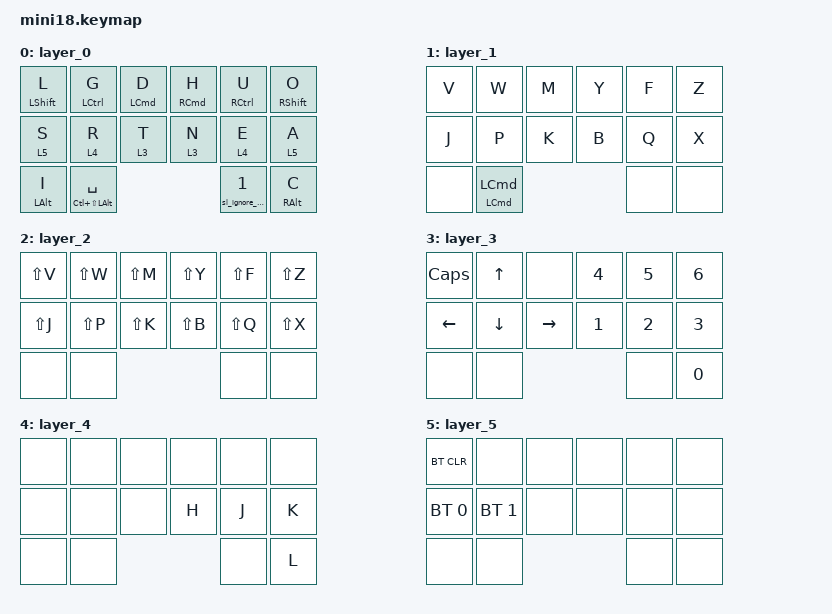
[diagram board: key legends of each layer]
// ------------------------------------------------------------------------------------------------------ //
//  ####################################################################################################  //
//  ############################################# BRIEF ################################################  //
//  ####################################################################################################  //
// ------------------------------------------------------------------------------------------------------ //
// NOCC Mini 16 Prototype 2.0 (Pronounced "knock")
//  _   _   ____    _____   _____
// | \ | | / __ \  / ____| / ____|
// |  \| || |  | || |     | |
// | . ` || |  | || |     | |
// | |\  || |__| || |____ | |____
// |_| \_| \____/  \_____| \_____|
//
// The NOCC Mini 16 is focused on being portable (small & lightweight), ergonomic,
// yet, still fast to type and program with (symbols, VIM Motions, TMUX etc.) by
// making use of combos and behaviors. The Keymap is Mac focused but can be
// modified for Windows.
// ------------------------------------------------------------------------------------------------------ //
//  ####################################################################################################  //
//  ###################################### KEYMAP PIN ASSIGNMENT #######################################  //
//  ####################################################################################################  //
// ------------------------------------------------------------------------------------------------------ //
// Each Key is assigned a pin on the MCU. Use this map to create new combos, or edit existing ones.
// ** Example: 10 is the right hand thumb key and 16 is the right hand pinky key **
//
// 16 Key Keymap Pin Layout
// 0   1   2     3   4   5
// 6   7   8     9  10  11
// 12     13     14     15
// ------------------------------------------------------------------------------------------------------ //
//  ####################################################################################################  //
//  ############################################# INCLUDES #############################################  //
//  ####################################################################################################  //
// ------------------------------------------------------------------------------------------------------ //
#include <behaviors.dtsi>
#include <dt-bindings/zmk/keys.h>
#include <dt-bindings/zmk/bt.h>
/ {
// ------------------------------------------------------------------------------------------------------ //
//  ####################################################################################################  //
//  ############################################ BEHAVIORS #############################################  //
//  ####################################################################################################  //
// ------------------------------------------------------------------------------------------------------ //
    behaviors {
        //Activates Layer 1
        //One shot sticky layer
        //Any key pressed (except mod keys (cmd, shift etc.)) will trigger home layer switch
        sl_ignore_mods: sticky_layer_ignore_mods {
            compatible = "zmk,behavior-sticky-key";
            #binding-cells = <1>;
            bindings = <&mo>;
            release-after-ms = <300>;
            ignore-modifiers;
        };
        //Activates Layer 2
        //One shot sticky layer
        //Any key pressed (except mod keys (cmd, shift etc.)) will trigger home layer switch
        sl_caps: sl_caps {
            compatible = "zmk,behavior-sticky-key";
            #binding-cells = <1>;
            bindings = <&mo>;
            release-after-ms = <200>;
            ignore-modifiers;
        };
        //Does not deactivate layer
        //When tapped, next key is Left Command + Key
        //If held Left Command Key
         lcmd_sticky_hold: lcmd_sticky_hold {
            compatible = "zmk,behavior-hold-tap";
            #binding-cells = <2>;
            tapping-term-ms = <200>;
            quick-tap-ms = <0>;
            flavor = "tap-preferred";
            bindings = <&kp>, <&sk>;
        };
    };
// ------------------------------------------------------------------------------------------------------ //
//  ####################################################################################################  //
//  ############################################## COMBOS ##############################################  //
//  ####################################################################################################  //
// ------------------------------------------------------------------------------------------------------ //
    combos {
        compatible = "zmk,combos";
// ------------------------------------------------------------------------------------------------------ //
//  ######################################### FUNCTION COMBOS ##########################################  //
// ------------------------------------------------------------------------------------------------------ //
    //Switches to Alpha Caps Layer 2
    //Initiated on Layer 0
    combo_caps_layer {
        timeout-ms = <100>;
        key-positions = <14 4>;
        bindings = <&sl_caps 2>;
        };
    //Next  Key on Layer 0 is Shifted
    //Initiated on Layer 0
    combo_layer_0_shift_next {
        timeout-ms = <100>;
        key-positions = <13 1>;
        bindings = <&sk LSHFT>;
        layers = <0>;
        };
   //Initiated on Layer 0
   //Output: Repeat Last Key
    combo_repeat_last_key {
        timeout-ms = <100>;
        key-positions = <14 15>;
        bindings = <&key_repeat>;
        layers = <0>;
        };
    //Initiated on Layer 0
   //Output: Enter
    combo_enter {
        timeout-ms = <50>;
        key-positions = <13 14>;
        bindings = <&kp ENTER>;
        layers = <0>;
        };
    //Initiated on Layer 0
    //Output: Backspace
    combo_backspace {
        timeout-ms = <50>;
        key-positions = <9 10>;
        bindings = <&kp BACKSPACE>;
        layers = <0>;
        };
    //Initiated on Layer 0
   //Output: Escape
    combo_esc {
        timeout-ms = <50>;
        key-positions = <4 5>;
        bindings = <&kp ESCAPE>;
        layers = <0>;
        };
    //Initiated on Layer 0
    //Output: Tab
    combo_tab {
        timeout-ms = <50>;
        key-positions = <12 13>;
        bindings = <&kp TAB>;
        layers = <0>;
        };
// ------------------------------------------------------------------------------------------------------ //
//  ########################################### NUMBER COMBOS ##########################################  //
// ------------------------------------------------------------------------------------------------------ //
   //Output: "7"
    combo_num_seven {
        timeout-ms = <50>;
        key-positions = <3 4>;
        bindings = <&kp N7>;
        layers = <2>;
        };
   //Output: "8"
    combo_num_eight {
        timeout-ms = <50>;
        key-positions = <4 5>;
        bindings = <&kp N8>;
        layers = <2>;
        };
   //Output: "9"
    combo_num_nine {
        timeout-ms = <50>;
        key-positions = <9 10>;
        bindings = <&kp N9>;
        layers = <2>;
        };
// ------------------------------------------------------------------------------------------------------ //
//  ########################################## SYMBOL COMBOS ###########################################  //
// ------------------------------------------------------------------------------------------------------ //
   //Output: ":"
    combo_colon {
        timeout-ms = <50>;
        key-positions = <3 4>;
        bindings = <&kp COLON>;
        layers = <0>;
    };
   //Output: "$"
    combo_dollar {
        timeout-ms = <50>;
        key-positions = <4 11>;
        bindings = <&kp DLLR>;
        layers = <0>;
    };
   //Output: "%"
    combo_percent {
        timeout-ms = <50>;
        key-positions = <9 4>;
        bindings = <&kp PERCENT>;
        layers = <0>;
    };
   //Output: "("
    combo_left_parenthesis {
        timeout-ms = <50>;
        key-positions = <8 9>;
        bindings = <&kp LPAR>;
        layers = <0>;
    };
   //Output: ")"
    combo_right_parenthesis {
        timeout-ms = <50>;
        key-positions = <2 3>;
        bindings = <&kp RPAR>;
        layers = <0>;
    };
   //Output: "{"
    combo_left_brace {
        timeout-ms = <50>;
        key-positions = <7 10>;
        bindings = <&kp LBRC>;
        layers = <0>;
    };
   //Output: "}"
    combo_right_brace {
        timeout-ms = <50>;
        key-positions = <1 4>;
        bindings = <&kp RBRC>;
        layers = <0>;
    };
   //Output: "["
    combo_left_bracket {
        timeout-ms = <50>;
        key-positions = <6 11>;
        bindings = <&kp LBKT>;
        layers = <0>;
    };
   //Output: "]"
    combo_right_bracket {
        timeout-ms = <50>;
        key-positions = <0 5>;
        bindings = <&kp RBKT>;
        layers = <0>;
    };
   //Output: "<"
    combo_less_than {
        timeout-ms = <50>;
        key-positions = <12 6>;
        bindings = <&kp LT>;
        layers = <0>;
    };
   //Output: ">"
    combo_greater_than {
        timeout-ms = <50>;
        key-positions = <11 15>;
        bindings = <&kp GT>;
        layers = <0>;
    };
   //Output: ","
    combo_comma {
        timeout-ms = <50>;
        key-positions = <3 5>;
        bindings = <&kp COMMA>;
        layers = <0>;
    };
   //Output: ";"
    combo_semi_colon {
        timeout-ms = <50>;
        key-positions = <9 15>;
        bindings = <&kp SEMICOLON>;
        layers = <0>;
        };
   //Output: "."
    combo_period {
        timeout-ms = <50>;
        key-positions = <10 11>;
        bindings = <&kp DOT>;
        layers = <0>;
        };
   //Output: "/"
    combo_slash {
        timeout-ms = <50>;
        key-positions = <9 11>;
        bindings = <&kp FSLH>;
        layers = <0>;
        };
   //Output: " ' "
    combo_single_quote {
        timeout-ms = <50>;
        key-positions = <1 2>;
        bindings = <&kp APOS>;
        layers = <0>;
    };
   //Output: ' " '
    combo_double_quotes {
        timeout-ms = <50>;
        key-positions = <0 1>;
        bindings = <&kp DQT>;
        layers = <0>;
    };
   //Output: " ` "
    combo_grave {
        timeout-ms = <50>;
        key-positions = <0 2>;
        bindings = <&kp GRAVE>;
        layers = <0>;
    };
   //Output: "?"
    combo_question {
        timeout-ms = <50>;
        key-positions = <6 8>;
        bindings = <&kp QMARK>;
        layers = <0>;
    };
   //Output: "!"
    combo_exclamation {
        timeout-ms = <50>;
        key-positions = <6 7>;
        bindings = <&kp EXCL>;
        layers = <0>;
    };
   //Output: "#"
    combo_hash {
        timeout-ms = <50>;
        key-positions = <7 8>;
        bindings = <&kp HASH>;
        layers = <0>;
    };
   //Output: "|"
    combo_pipe {
        timeout-ms = <50>;
        key-positions = <1 6>;
        bindings = <&kp PIPE>;
        layers = <0>;
    };
   //Output: "&"
    combo_ampersand {
        timeout-ms = <50>;
        key-positions = <1 8>;
        bindings = <&kp AMPS>;
        layers = <0>;
    };
   //Output: "~"
    combo_tilde {
        timeout-ms = <50>;
        key-positions = <11 0>;
        bindings = <&kp TILDE>;
        layers = <0>;
    };
   //Output: "_"
    combo_underscore {
        timeout-ms = <50>;
        key-positions = <6 5>;
        bindings = <&kp UNDER>;
        layers = <0>;
    };
   //Output: "="
    combo_equal {
        timeout-ms = <50>;
        key-positions = <9 2>;
        bindings = <&kp EQUAL>;
        layers = <0>;
    };
   //Output: "+"
    combo_plus {
        timeout-ms = <50>;
        key-positions = <8 3>;
        bindings = <&kp PLUS>;
        layers = <0>;
    };
   //Output: "*"
    combo_asterisk {
        timeout-ms = <50>;
        key-positions = <1 10>;
        bindings = <&kp ASTRK>;
        layers = <0>;
    };
   //Output: "-"
    combo_minus {
        timeout-ms = <50>;
        key-positions = <7 4>;
        bindings = <&kp MINUS>;
        layers = <0>;
    };
   //Output: "@"
    combo_at {
        timeout-ms = <50>;
        key-positions = <9 5>;
        bindings = <&kp AT>;
        layers = <0>;
    };
   //Output: "\"
    combo_backslash {
        timeout-ms = <50>;
        key-positions = <3 11>;
        bindings = <&kp BSLH>;
        layers = <0>;
    };
   //Output: "^"
    combo_caret {
        timeout-ms = <50>;
        key-positions = <6 2>;
        bindings = <&kp CARET>;
        layers = <0>;
    };
};
// ------------------------------------------------------------------------------------------------------ //
//  ####################################################################################################  //
//  ############################################# KEYMAP ###############################################  //
//  ####################################################################################################  //
// ------------------------------------------------------------------------------------------------------ //
    keymap {
        compatible = "zmk,keymap";
// ------------------------------------------------------------------------------------------------------ //
//  ##################################### ALPHA #1 & SYMBOLS (combos) ##################################  //
// ------------------------------------------------------------------------------------------------------ //
// |   l + SHIFT |    g + CTRL  |    d + CMD    | //    // |   h + CMD   |    u + CTRL    |  o + SHIFT  | //
// ---------------------------------------------- //    // ---------------------------------------------- //
// |    s + L5   |     r + L4   |     t + L3    | //    // |   n + L3    |     e + L4     |    a + L5   | //
// ---------------------------------------------- //    // ---------------------------------------------- //
// |   i + OPTN  |               |  SPACE + MEH | //    // |     L1      |                |   c + OPTN  | //
// ------------ //               // ------------- //    // ------------ //                // ------------ //
        layer_0 {
            bindings = <

&mt LEFT_SHIFT L &mt LEFT_CONTROL G &mt LEFT_COMMAND D     &mt RIGHT_COMMAND H &mt RIGHT_CONTROL U &mt RIGHT_SHIFT O
&lt 5 S          &lt 4 R            &lt 3 T                &lt 3 N             &lt 4 E             &lt 5 A
&mt LALT I               &mt LC(LS(LALT)) SPACE            &sl_ignore_mods 1                       &mt RALT C

            >;
        };
// ------------------------------------------------------------------------------------------------------ //
//  ############################################# ALPHA #2 #############################################  //
// ------------------------------------------------------------------------------------------------------ //
// |      v      |       w       |      m       | //    // |      y      |        f       |      z      | //
// ---------------------------------------------- //    // ---------------------------------------------- //
// |      j      |       p       |      k       | //    // |      b      |        q       |      x      | //
// ---------------------------------------------- //    // ---------------------------------------------- //
// |    NONE     |               |    COMMAND   | //    // |    NONE     |                |     NONE    | //
// ------------ //               // ------------- //    // ------------ //                // ------------ //
        layer_1 {
            bindings = <

            &kp V      &kp W      &kp M                              &kp Y      &kp F      &kp Z
            &kp J      &kp P      &kp K                              &kp B      &kp Q      &kp X
            &none                 &lcmd_sticky_hold LCMD LCMD        &none                 &none

            >;
        };
// ------------------------------------------------------------------------------------------------------ //
//  ########################################### ALPHA #2 CAPS ##########################################  //
// ------------------------------------------------------------------------------------------------------ //
// |      V      |       W       |      M       | //    // |      Y      |        F       |      Z      | //
// ---------------------------------------------- //    // ---------------------------------------------- //
// |      J      |       P       |      K       | //    // |      B      |        Q       |      X      | //
// ---------------------------------------------- //    // ---------------------------------------------- //
// |    NONE     |               |     NONE     | //    // |    NONE     |                |     NONE    | //
// ------------ //               // ------------- //    // ------------ //                // ------------ //
        layer_2 {
            bindings = <

            &kp LS(V)  &kp LS(W)  &kp LS(M)                &kp LS(Y)  &kp LS(F)  &kp LS(Z)
            &kp LS(J)  &kp LS(P)  &kp LS(K)                &kp LS(B)  &kp LS(Q)  &kp LS(X)
            &none                 &none                    &none                 &none

            >;
        };
// ------------------------------------------------------------------------------------------------------ //
//  ############################################ NUMS / ARROWS #########################################  //
// ------------------------------------------------------------------------------------------------------ //
// |   CAPSLOCK  |       UP       |             | //    // |      4   (7)|(7)     5    (8)|(8)   6      | //
// ---------------------------------------------- //    // ---------------------------------------------- //
// |     LEFT    |      DOWN      |    RIGHT    | //    // |      1   (9)|(9)     2       |      3      | //
// ---------------------------------------------- //    // ---------------------------------------------- //
// |             |                |             | //    // |             |                |      0      | //
// ------------ //               // ------------- //    // ------------ //                // ------------ //
        layer_3 {

            bindings = <
            &kp CAPSLOCK     &kp UP       &none                          &kp N4      &kp N5      &kp N6
            &kp LEFT         &kp DOWN     &kp RIGHT                      &kp N1      &kp N2      &kp N3
            &none                         &none                          &none                   &kp N0

            >;
        };
// ------------------------------------------------------------------------------------------------------ //
//  ################################################ VIM ###############################################  //
// ------------------------------------------------------------------------------------------------------ //
// |             |                |             | //    // |             |                |             | //
// ---------------------------------------------- //    // ---------------------------------------------- //
// |             |                |             | //    // |      H      |        J       |      K      | //
// ---------------------------------------------- //    // ---------------------------------------------- //
// |             |                |             | //    // |             |                |      L      | //
// ------------ //               // ------------- //    // ------------ //                // ------------ //
        layer_4 {
            bindings = <

           &none      &none       &none                              &none      &none      &none
           &none      &none       &none                              &kp H      &kp J      &kp K
           &none                  &none                              &none                 &kp L

            >;
        };
// ------------------------------------------------------------------------------------------------------ //
//  ############################################# BLUETOOTH ############################################  //
// ------------------------------------------------------------------------------------------------------ //
// |  CLEAR ALL  |                |             | //    // |            |                |              | //
// ---------------------------------------------- //    // ---------------------------------------------- //
// | BT Layer 0  |   BT Layer 1   |             | //    // |            |               |               | //
// ---------------------------------------------- //    // ---------------------------------------------- //
// |             |                |             | //    // |            |               |               | //
// ------------ //               // ------------- //    // ------------ //                // ------------ //
        layer_5 {
            bindings = <

       &bt BT_CLR      &none         &none                           &none     &none      &none
       &bt BT_SEL 0    &bt BT_SEL 1  &none                           &none     &none      &none
       &none                         &none                           &none                &none

            >;
        };
    };
};
